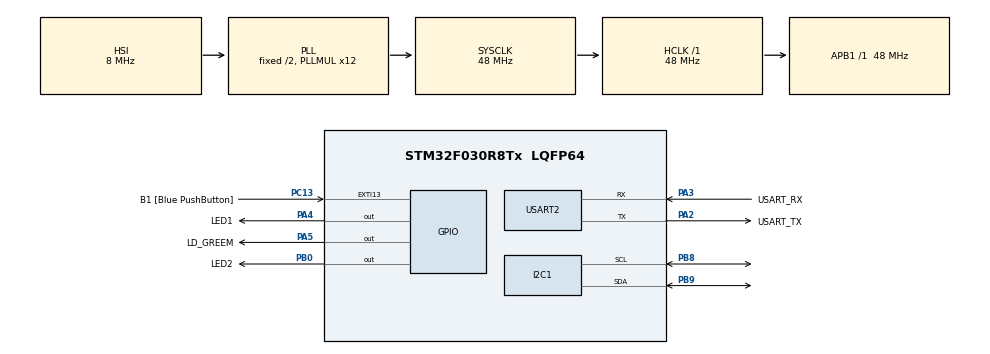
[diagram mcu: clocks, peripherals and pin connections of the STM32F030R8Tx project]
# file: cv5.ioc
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Dma.Request0=USART2_RX
Dma.USART2_RX.0.Direction=DMA_PERIPH_TO_MEMORY
Dma.USART2_RX.0.Instance=DMA1_Channel5
Dma.USART2_RX.0.MemDataAlignment=DMA_MDATAALIGN_BYTE
Dma.USART2_RX.0.MemInc=DMA_MINC_ENABLE
Dma.USART2_RX.0.Mode=DMA_CIRCULAR
Dma.USART2_RX.0.PeriphDataAlignment=DMA_PDATAALIGN_BYTE
Dma.USART2_RX.0.PeriphInc=DMA_PINC_DISABLE
Dma.USART2_RX.0.Priority=DMA_PRIORITY_LOW
I2C1.Timing=0x00201D2B
Mcu.Family=STM32F0
Mcu.Name=STM32F030R8Tx
Mcu.Package=LQFP64
NVIC.DMA1_Channel4_5_IRQn=true\:0\:0\:false\:false\:true\:false\:true\:true
PA13.GPIO_Label=TMS
PA13.Mode=Serial_Wire
PA13.Signal=SYS_SWDIO
PA14.GPIO_Label=TCK
PA14.Mode=Serial_Wire
PA14.Signal=SYS_SWCLK
PA2.GPIO_Label=USART_TX
PA2.GPIO_Mode=GPIO_MODE_AF_PP
PA2.GPIO_PuPd=GPIO_NOPULL
PA2.GPIO_Speed=GPIO_SPEED_FREQ_LOW
PA2.Mode=Asynchronous
PA2.Signal=USART2_TX
PA3.GPIO_Label=USART_RX
PA3.GPIO_Mode=GPIO_MODE_AF_PP
PA3.GPIO_PuPd=GPIO_NOPULL
PA3.GPIO_Speed=GPIO_SPEED_FREQ_LOW
PA3.Mode=Asynchronous
PA3.Signal=USART2_RX
PA4.GPIO_Label=LED1
PA4.Signal=GPIO_Output
PA5.GPIO_Label=LD_GREEM
PA5.GPIO_Mode=GPIO_MODE_OUTPUT_PP
PA5.GPIO_PuPd=GPIO_NOPULL
PA5.GPIO_Speed=GPIO_SPEED_FREQ_LOW
PA5.Signal=GPIO_Output
PB0.GPIO_Label=LED2
PB0.Signal=GPIO_Output
PB8.Mode=I2C
PB8.Signal=I2C1_SCL
PB9.Mode=I2C
PB9.Signal=I2C1_SDA
PC13.GPIO_Label=B1 [Blue PushButton]
PC13.GPIO_ModeDefaultEXTI=GPIO_MODE_IT_FALLING
PC13.Signal=GPXTI13
PC14-OSC32_IN.Mode=LSE-External-Oscillator
PC14-OSC32_IN.Signal=RCC_OSC32_IN
PC15-OSC32_OUT.Mode=LSE-External-Oscillator
PC15-OSC32_OUT.Signal=RCC_OSC32_OUT
PF0-OSC_IN.Mode=HSE-External-Clock-Source
PF0-OSC_IN.Signal=RCC_OSC_IN
PF1-OSC_OUT.Signal=RCC_OSC_OUT
ProjectManager.HeapSize=0x200
ProjectManager.StackSize=0x400
ProjectManager.TargetToolchain=STM32CubeIDE
RCC.AHBFreq_Value=48000000
RCC.APB1Freq_Value=48000000
RCC.APB1TimFreq_Value=48000000
RCC.HCLKFreq_Value=48000000
RCC.PLLMUL=RCC_PLL_MUL12
RCC.SYSCLKFreq_VALUE=48000000
RCC.SYSCLKSource=RCC_SYSCLKSOURCE_PLLCLK
USART2.VirtualMode-Asynchronous=VM_ASYNC
board=NUCLEO-F030R8

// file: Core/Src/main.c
/* USER CODE BEGIN Header */
/**
  ******************************************************************************
  * @file           : main.c
  * @brief          : Main program body
  ******************************************************************************
  * @attention
  *
  * Copyright (c) 2025 STMicroelectronics.
  * All rights reserved.
  *
  * This software is licensed under terms that can be found in the LICENSE file
  * in the root directory of this software component.
  * If no LICENSE file comes with this software, it is provided AS-IS.
  *
  ******************************************************************************
  */
/* USER CODE END Header */
#include "main.h"

/* USER CODE BEGIN Includes */
#include <stdio.h>
#include <stdlib.h>
#include <string.h>
/* USER CODE END Includes */

/* USER CODE BEGIN PD */
#define RX_BUFFER_LEN 64
static uint8_t uart_rx_buf[RX_BUFFER_LEN];
static volatile uint16_t uart_rx_read_ptr = 0;
#define uart_rx_write_ptr (RX_BUFFER_LEN - hdma_usart2_rx.Instance->CNDTR)
#define CMD_BUFFER_LEN 256

#define EEPROM_ADDR 0xA0
#define EEPROM_DUMP_LEN 16
/* USER CODE END PD */

I2C_HandleTypeDef hi2c1;

UART_HandleTypeDef huart2;
DMA_HandleTypeDef hdma_usart2_rx;

void SystemClock_Config(void);
static void MX_GPIO_Init(void);
static void MX_DMA_Init(void);
static void MX_USART2_UART_Init(void);
static void MX_I2C1_Init(void);
/* USER CODE BEGIN PFP */
static void uart_byte_available(uint8_t c);
void uart_process_command(char* cmd);
/* USER CODE END PFP */

int main(void)
{

  /* MCU Configuration--------------------------------------------------------*/

  /* Reset of all peripherals, Initializes the Flash interface and the Systick. */
  HAL_Init();

  /* Configure the system clock */
  SystemClock_Config();

  /* Initialize all configured peripherals */
  MX_GPIO_Init();
  MX_DMA_Init();
  MX_USART2_UART_Init();
  MX_I2C1_Init();
  /* USER CODE BEGIN 2 */
  HAL_UART_Receive_DMA(&huart2, uart_rx_buf, RX_BUFFER_LEN);
  HAL_GPIO_WritePin(LED1_GPIO_Port, LED1_Pin, 0);
  HAL_GPIO_WritePin(LED2_GPIO_Port, LED2_Pin, 0);
  /* USER CODE END 2 */

  /* Infinite loop */
  /* USER CODE BEGIN WHILE */
  while (1)
  {
//
//	  uint8_t c;
//	  HAL_UART_Receive(&huart2, &c, 1, HAL_MAX_DELAY);
//	  HAL_UART_Transmit(&huart2, &c, 1, HAL_MAX_DELAY);
	  while (uart_rx_read_ptr != uart_rx_write_ptr) {
		  uint8_t b = uart_rx_buf[uart_rx_read_ptr];

		  // increase read pointer
		  if (++uart_rx_read_ptr >= RX_BUFFER_LEN) uart_rx_read_ptr = 0;

		  // process every received byte with the RX state machine
		  uart_byte_available(b);
	  }

    /* USER CODE END WHILE */

  }
}

void SystemClock_Config(void)
{
  RCC_OscInitTypeDef RCC_OscInitStruct = {0};
  RCC_ClkInitTypeDef RCC_ClkInitStruct = {0};
  RCC_PeriphCLKInitTypeDef PeriphClkInit = {0};

  /** Initializes the RCC Oscillators according to the specified parameters
  * in the RCC_OscInitTypeDef structure.
  */
  RCC_OscInitStruct.OscillatorType = RCC_OSCILLATORTYPE_HSI;
  RCC_OscInitStruct.HSIState = RCC_HSI_ON;
  RCC_OscInitStruct.HSICalibrationValue = RCC_HSICALIBRATION_DEFAULT;
  RCC_OscInitStruct.PLL.PLLState = RCC_PLL_ON;
  RCC_OscInitStruct.PLL.PLLSource = RCC_PLLSOURCE_HSI;
  RCC_OscInitStruct.PLL.PLLMUL = RCC_PLL_MUL12;
  RCC_OscInitStruct.PLL.PREDIV = RCC_PREDIV_DIV1;
  if (HAL_RCC_OscConfig(&RCC_OscInitStruct) != HAL_OK)
  {
    Error_Handler();
  }

  /** Initializes the CPU, AHB and APB buses clocks
  */
  RCC_ClkInitStruct.ClockType = RCC_CLOCKTYPE_HCLK|RCC_CLOCKTYPE_SYSCLK
                              |RCC_CLOCKTYPE_PCLK1;
  RCC_ClkInitStruct.SYSCLKSource = RCC_SYSCLKSOURCE_PLLCLK;
  RCC_ClkInitStruct.AHBCLKDivider = RCC_SYSCLK_DIV1;
  RCC_ClkInitStruct.APB1CLKDivider = RCC_HCLK_DIV1;

  if (HAL_RCC_ClockConfig(&RCC_ClkInitStruct, FLASH_LATENCY_1) != HAL_OK)
  {
    Error_Handler();
  }
  PeriphClkInit.PeriphClockSelection = RCC_PERIPHCLK_I2C1;
  PeriphClkInit.I2c1ClockSelection = RCC_I2C1CLKSOURCE_HSI;
  if (HAL_RCCEx_PeriphCLKConfig(&PeriphClkInit) != HAL_OK)
  {
    Error_Handler();
  }
}

static void MX_I2C1_Init(void)
{

  hi2c1.Instance = I2C1;
  hi2c1.Init.Timing = 0x00201D2B;
  hi2c1.Init.OwnAddress1 = 0;
  hi2c1.Init.AddressingMode = I2C_ADDRESSINGMODE_7BIT;
  hi2c1.Init.DualAddressMode = I2C_DUALADDRESS_DISABLE;
  hi2c1.Init.OwnAddress2 = 0;
  hi2c1.Init.OwnAddress2Masks = I2C_OA2_NOMASK;
  hi2c1.Init.GeneralCallMode = I2C_GENERALCALL_DISABLE;
  hi2c1.Init.NoStretchMode = I2C_NOSTRETCH_DISABLE;
  if (HAL_I2C_Init(&hi2c1) != HAL_OK)
  {
    Error_Handler();
  }

  /** Configure Analogue filter
  */
  if (HAL_I2CEx_ConfigAnalogFilter(&hi2c1, I2C_ANALOGFILTER_ENABLE) != HAL_OK)
  {
    Error_Handler();
  }

  /** Configure Digital filter
  */
  if (HAL_I2CEx_ConfigDigitalFilter(&hi2c1, 0) != HAL_OK)
  {
    Error_Handler();
  }

}

static void MX_USART2_UART_Init(void)
{

  huart2.Instance = USART2;
  huart2.Init.BaudRate = 38400;
  huart2.Init.WordLength = UART_WORDLENGTH_8B;
  huart2.Init.StopBits = UART_STOPBITS_1;
  huart2.Init.Parity = UART_PARITY_NONE;
  huart2.Init.Mode = UART_MODE_TX_RX;
  huart2.Init.HwFlowCtl = UART_HWCONTROL_NONE;
  huart2.Init.OverSampling = UART_OVERSAMPLING_16;
  huart2.Init.OneBitSampling = UART_ONE_BIT_SAMPLE_DISABLE;
  huart2.AdvancedInit.AdvFeatureInit = UART_ADVFEATURE_NO_INIT;
  if (HAL_UART_Init(&huart2) != HAL_OK)
  {
    Error_Handler();
  }

}

static void MX_DMA_Init(void)
{

  /* DMA controller clock enable */
  __HAL_RCC_DMA1_CLK_ENABLE();

  /* DMA interrupt init */
  /* DMA1_Channel4_5_IRQn interrupt configuration */
  HAL_NVIC_SetPriority(DMA1_Channel4_5_IRQn, 0, 0);
  HAL_NVIC_EnableIRQ(DMA1_Channel4_5_IRQn);

}

static void MX_GPIO_Init(void)
{
  GPIO_InitTypeDef GPIO_InitStruct = {0};

  /* GPIO Ports Clock Enable */
  __HAL_RCC_GPIOC_CLK_ENABLE();
  __HAL_RCC_GPIOF_CLK_ENABLE();
  __HAL_RCC_GPIOA_CLK_ENABLE();
  __HAL_RCC_GPIOB_CLK_ENABLE();

  /*Configure GPIO pin Output Level */
  HAL_GPIO_WritePin(GPIOA, LED1_Pin|LD_GREEM_Pin, GPIO_PIN_RESET);

  /*Configure GPIO pin Output Level */
  HAL_GPIO_WritePin(LED2_GPIO_Port, LED2_Pin, GPIO_PIN_RESET);

  /*Configure GPIO pin : B1_Pin */
  GPIO_InitStruct.Pin = B1_Pin;
  GPIO_InitStruct.Mode = GPIO_MODE_IT_FALLING;
  GPIO_InitStruct.Pull = GPIO_NOPULL;
  HAL_GPIO_Init(B1_GPIO_Port, &GPIO_InitStruct);

  /*Configure GPIO pins : LED1_Pin LD_GREEM_Pin */
  GPIO_InitStruct.Pin = LED1_Pin|LD_GREEM_Pin;
  GPIO_InitStruct.Mode = GPIO_MODE_OUTPUT_PP;
  GPIO_InitStruct.Pull = GPIO_NOPULL;
  GPIO_InitStruct.Speed = GPIO_SPEED_FREQ_LOW;
  HAL_GPIO_Init(GPIOA, &GPIO_InitStruct);

  /*Configure GPIO pin : LED2_Pin */
  GPIO_InitStruct.Pin = LED2_Pin;
  GPIO_InitStruct.Mode = GPIO_MODE_OUTPUT_PP;
  GPIO_InitStruct.Pull = GPIO_NOPULL;
  GPIO_InitStruct.Speed = GPIO_SPEED_FREQ_LOW;
  HAL_GPIO_Init(LED2_GPIO_Port, &GPIO_InitStruct);

}

/* USER CODE BEGIN 4 */
static void uart_byte_available(uint8_t c)
{
	static uint16_t cnt;
	static char data[CMD_BUFFER_LEN];
	if (cnt < CMD_BUFFER_LEN && c >= 32 && c <= 126) data[cnt++] = c;
	if ((c == '\n' || c == '\r') && cnt > 0) {
		data[cnt] = '\0';
		uart_process_command(data);
		cnt = 0;
	}
}

void uart_process_command(char* cmd)
{
	//printf("received: '%s'\n", cmd);

	char *token;
	token = strtok(cmd, " \r\n");
	if (strcasecmp(token, "HELLO") == 0) {
		printf("Communication OK\n");
	}

	else if (strcasecmp(token, "STATUS") == 0)
	{
		printf("LED1 %i \n", HAL_GPIO_ReadPin(LED1_GPIO_Port, LED1_Pin));
		printf("LED2 %i \n", HAL_GPIO_ReadPin(LED2_GPIO_Port, LED2_Pin));
	}

	else if (strcasecmp(token, "LED1") == 0) {
		token = strtok(NULL, " ");
		if (strcasecmp(token, "ON") == 0) {
			HAL_GPIO_WritePin(LED1_GPIO_Port, LED1_Pin, 1);
		} else if (strcasecmp(token, "OFF") == 0) {
			HAL_GPIO_WritePin(LED1_GPIO_Port, LED1_Pin, 0);
		}
		printf("OK\n");
	}
	else if (strcasecmp(token, "LED2") == 0) {
		token = strtok(NULL, " ");
		if (strcasecmp(token, "ON") == 0) {
			HAL_GPIO_WritePin(LED2_GPIO_Port, LED2_Pin, 1);
		} else if (strcasecmp(token, "OFF") == 0) {
			HAL_GPIO_WritePin(LED2_GPIO_Port, LED2_Pin, 0);
		}
		printf("OK\n");
	}
	else if (strcasecmp(token, "READ") == 0)
	{
		token = strtok(NULL, " ");
		uint8_t value;
		uint16_t addr = atoi(token);
		HAL_I2C_Mem_Read(&hi2c1, EEPROM_ADDR, addr, I2C_MEMADD_SIZE_16BIT, &value, 1, 1000);
		printf("Address %#04X = %#04X \n", addr, value);
	}
	else if (strcasecmp(token, "WRITE") == 0)
	{
		token = strtok(NULL, " ");
		uint16_t addr = atoi(token);
		token = strtok(NULL, " ");
		uint8_t value = atoi(token);;

		HAL_I2C_Mem_Write(&hi2c1, EEPROM_ADDR, addr, I2C_MEMADD_SIZE_16BIT, &value, 1, 1000);
		while (HAL_I2C_IsDeviceReady(&hi2c1, EEPROM_ADDR, 300, 1000) != HAL_OK) {}
		printf("OK\n");
	}
	else if (strcasecmp(token, "DUMP") == 0)
	{
		uint8_t dump[EEPROM_DUMP_LEN];
		HAL_I2C_Mem_Read(&hi2c1, EEPROM_ADDR, 0x0000, I2C_MEMADD_SIZE_16BIT, dump, EEPROM_DUMP_LEN, 1000);
		for (uint8_t i = 0; i < EEPROM_DUMP_LEN; i++)
		{
			printf("%02x ", dump[i]);
			if ((i + 1) % 8 == 0) printf("\r \n");
		}
	}

}

int _write(int file, char const *buf, int n)
{
	/* stdout redirection to UART2 */
	HAL_UART_Transmit(&huart2, (uint8_t*)(buf), n, HAL_MAX_DELAY);
	return n;
}
/* USER CODE END 4 */

void Error_Handler(void)
{
  __disable_irq();
  while (1)
  {
  }
}
